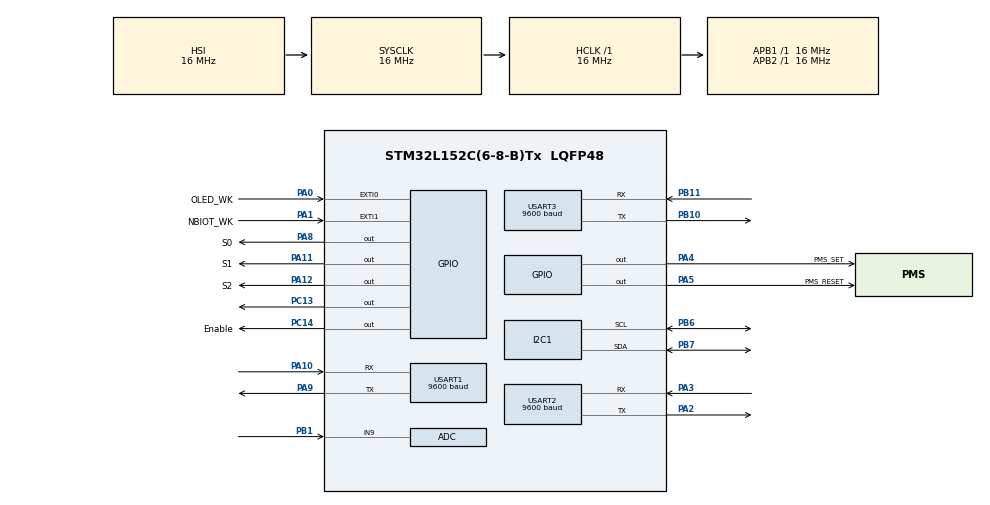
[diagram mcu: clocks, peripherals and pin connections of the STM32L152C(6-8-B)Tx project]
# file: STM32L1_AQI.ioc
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Mcu.Family=STM32L1
PA11.GPIO_Speed=GPIO_SPEED_FREQ_VERY_HIGH
PH0-OSC_IN.Signal=RCC_OSC_IN
PB10.Mode=Asynchronous
ADC.Rank-0\#ChannelRegularConversion=1
USART1.BaudRate=9600
PB11.Signal=USART3_RX
PA5.PinState=GPIO_PIN_SET
RCC.SYSCLKSource=RCC_SYSCLKSOURCE_HSI
ProjectManager.StackSize=0x400
PC13-WKUP2.GPIO_PuPd=GPIO_PULLUP
PA12.Signal=GPIO_Output
USART3.BaudRate=9600
RCC.HCLKFreq_Value=16000000
RCC.APB2TimFreq_Value=16000000
PB6.Signal=I2C1_SCL
PB6.Mode=I2C
PA1.GPIO_PuPd=GPIO_PULLUP
RCC.AHBFreq_Value=16000000
PH0-OSC_IN.Mode=HSE-External-Oscillator
RCC.HSE_VALUE=8000000
PC13-WKUP2.Signal=GPIO_Output
PA4.GPIO_PuPd=GPIO_PULLUP
PA4.GPIO_Speed=GPIO_SPEED_FREQ_HIGH
PA14.Mode=Serial_Wire
PA5.GPIO_PuPd=GPIO_PULLUP
PB7.Signal=I2C1_SDA
PA8.Signal=GPIO_Output
TIM6.Period=3999
PC14-OSC32_IN.GPIO_Speed=GPIO_SPEED_FREQ_VERY_HIGH
PH1-OSC_OUT.Mode=HSE-External-Oscillator
Mcu.Package=LQFP48
PB1.Signal=ADC_IN9
PC14-OSC32_IN.PinState=GPIO_PIN_SET
USART2.VirtualMode=VM_ASYNC
PA10.Signal=USART1_RX
ADC.Channel-0\#ChannelRegularConversion=ADC_CHANNEL_9
RCC.APB1TimFreq_Value=16000000
PC14-OSC32_IN.GPIO_Label=Enable
PA4.GPIO_Label=PMS_SET
PA8.GPIO_Speed=GPIO_SPEED_FREQ_VERY_HIGH
PA12.GPIO_Speed=GPIO_SPEED_FREQ_VERY_HIGH
RCC.MSIClockRange=RCC_MSIRANGE_6
PA3.Signal=USART2_RX
RCC.MSI_VALUE=4194000
RCC.PLLSourceVirtual=RCC_PLLSOURCE_HSE
PA10.Mode=Asynchronous
TIM6.Prescaler=3
VP_TIM6_VS_ClockSourceINT.Mode=Enable_Timer
PA11.GPIO_Label=S1
PC14-OSC32_IN.Signal=GPIO_Output
USART2.BaudRate=9600
PA12.GPIO_Label=S2
NVIC.TIM6_IRQn=true\:0\:0\:false\:false\:true\:true\:true
PA13.Signal=SYS_JTMS-SWDIO
PA3.Mode=Asynchronous
PA9.Mode=Asynchronous
PA8.GPIO_Label=S0
PA4.PinState=GPIO_PIN_SET
PB11.Mode=Asynchronous
ProjectManager.TargetToolchain=MDK-ARM V5
PA9.Signal=USART1_TX
PA0-WKUP1.Signal=GPXTI0
ADC.NbrOfConversionFlag=1
RCC.LSE_VALUE=32768
PA1.Signal=GPXTI1
PB10.Signal=USART3_TX
PA5.Signal=GPIO_Output
board=custom
RCC.VCOOutputFreq_Value=24000000
RCC.APB2Freq_Value=16000000
PA1.GPIO_Label=NBIOT_WK
PH1-OSC_OUT.Signal=RCC_OSC_OUT
PA13.Mode=Serial_Wire
Mcu.Name=STM32L152C(6-8-B)Tx
PA2.Signal=USART2_TX
RCC.48MHZClocksFreq_Value=12000000
NVIC.EXTI0_IRQn=true\:0\:0\:false\:false\:true\:true\:true
PA4.Signal=GPIO_Output
RCC.SYSCLKFreq_VALUE=16000000
PA5.GPIO_Label=PMS_RESET
USART3.VirtualMode=VM_ASYNC
USART1.VirtualMode=VM_ASYNC
PB7.Mode=I2C
PA11.Signal=GPIO_Output
PA14.Signal=SYS_JTCK-SWCLK
PA0-WKUP1.GPIO_Label=OLED_WK
ProjectManager.HeapSize=0x200
PA0-WKUP1.GPIO_PuPd=GPIO_PULLDOWN
PB1.Mode=IN9
RCC.HSI_VALUE=16000000
PA5.GPIO_Speed=GPIO_SPEED_FREQ_HIGH
NVIC.PriorityGroup=NVIC_PRIORITYGROUP_4
PA2.Mode=Asynchronous
ADC.SamplingTime-0\#ChannelRegularConversion=ADC_SAMPLETIME_4CYCLES
RCC.APB1Freq_Value=16000000

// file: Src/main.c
/* USER CODE BEGIN Header */
/**
  ******************************************************************************
  * @file           : main.c
  * @brief          : Main program body
  ******************************************************************************
  ** This notice applies to any and all portions of this file
  * that are not between comment pairs USER CODE BEGIN and
  * USER CODE END. Other portions of this file, whether
  * inserted by the user or by software development tools
  * are owned by their respective copyright owners.
  *
  * COPYRIGHT(c) 2020 STMicroelectronics
  *
  * Redistribution and use in source and binary forms, with or without modification,
  * are permitted provided that the following conditions are met:
  *   1. Redistributions of source code must retain the above copyright notice,
  *      this list of conditions and the following disclaimer.
  *   2. Redistributions in binary form must reproduce the above copyright notice,
  *      this list of conditions and the following disclaimer in the documentation
  *      and/or other materials provided with the distribution.
  *   3. Neither the name of STMicroelectronics nor the names of its contributors
  *      may be used to endorse or promote products derived from this software
  *      without specific prior written permission.
  *
  * THIS SOFTWARE IS PROVIDED BY THE COPYRIGHT HOLDERS AND CONTRIBUTORS "AS IS"
  * AND ANY EXPRESS OR IMPLIED WARRANTIES, INCLUDING, BUT NOT LIMITED TO, THE
  * IMPLIED WARRANTIES OF MERCHANTABILITY AND FITNESS FOR A PARTICULAR PURPOSE ARE
  * DISCLAIMED. IN NO EVENT SHALL THE COPYRIGHT HOLDER OR CONTRIBUTORS BE LIABLE
  * FOR ANY DIRECT, INDIRECT, INCIDENTAL, SPECIAL, EXEMPLARY, OR CONSEQUENTIAL
  * DAMAGES (INCLUDING, BUT NOT LIMITED TO, PROCUREMENT OF SUBSTITUTE GOODS OR
  * SERVICES; LOSS OF USE, DATA, OR PROFITS; OR BUSINESS INTERRUPTION) HOWEVER
  * CAUSED AND ON ANY THEORY OF LIABILITY, WHETHER IN CONTRACT, STRICT LIABILITY,
  * OR TORT (INCLUDING NEGLIGENCE OR OTHERWISE) ARISING IN ANY WAY OUT OF THE USE
  * OF THIS SOFTWARE, EVEN IF ADVISED OF THE POSSIBILITY OF SUCH DAMAGE.
  *
  ******************************************************************************
  */
/* USER CODE END Header */

#include "main.h"

/* USER CODE BEGIN Includes */
#include <stdlib.h>
#include <stdio.h>
#include <string.h>
#include "cmsis_os.h"
#include "ssd1306.h"
#include "ssd1306_tests.h"
#include "bmp280.h"
#include "GPS.h"
#include "AQI_thread.h"

#define NODE 11;

/* USER CODE END Includes */

/* USER CODE BEGIN PTD */

osPoolDef(message, 1, data);							//define memory pool
osPoolId  message_id;
data *message_pointer;

osThreadId GPS_id,PMS_id,BME_id,OLED_id,ESP_id,NBIOT_id;			//Define the task ID variables
osSemaphoreId Turnstile;
osSemaphoreDef(Turnstile);
osSemaphoreId Turnstile2;
osSemaphoreDef(Turnstile2);
osSemaphoreId Mutex;
osSemaphoreDef(Mutex);
unsigned int count=0;
int test =0;

osSemaphoreId Mutex_read;
osSemaphoreDef(Mutex_read);

osSemaphoreId Mutex_send;
osSemaphoreDef(Mutex_send);

void GPS_read_task(void const *argument)
{
	while(1)
	{
		osSemaphoreWait(Mutex_read, osWaitForever);
		mux_enable();
		mux_sel(1);
		GPS_Process();
		mux_enable();
		osSemaphoreRelease(Mutex_read);
//-----------------------------------Entry Turnstile-------------------------------

		osSemaphoreWait(Mutex,0xffff);			 				//Allow one task at a time to access the first turnstile
		count = count+1;					 									// Increment count
		if( count == 5) 					 									//When last section of code reaches this point run his code
		{
			osSemaphoreWait (Turnstile2,0xffff);	 		//Lock the second turnstile
			osSemaphoreRelease(Turnstile);				 		//Unlock the first turnstile
		}
		osSemaphoreRelease(Mutex);									//Allow other tasks to access the turnstile
		osSemaphoreWait(Turnstile,0xFFFF);					//Turnstile Gate
		osSemaphoreRelease(Turnstile);

//-----------------------------------Entry Turnstile-----------------------------------

		  // write to message
//----------------------------------Exit Turnstile------------------------------------

		osSemaphoreWait(Mutex,0xffff);			 				//Allow one task at a time to access the turnstile
		count = count - 1;
		if(count ==0)						 										//When last section of code reaches this point run his code
		{
			osSemaphoreWait(Turnstile,0xffff);		 		//Lock the second turnstile
			osSemaphoreRelease(Turnstile2);			 			//Unlock the first turnstile
		}
		osSemaphoreRelease(Mutex);					 				//Allow other tasks to access the turnstile
		osSemaphoreWait(Turnstile2,0xffff);		 			//Turnstile Gate
		osSemaphoreRelease(Turnstile2);

//---------------------------------Exit Turnstile-------------------------------------

	}
}	;

void PMS7003_read_task(void const *argument)
{
	while(1)
	{
		osSemaphoreWait(Mutex_read, osWaitForever);
		PMS_Init();
		if(readPMS()){
		message_pointer->pm01= ((uint16_t)pms_rx_data[4] << 8) | (uint16_t)pms_rx_data[5];
		message_pointer->pm25= ((uint16_t)pms_rx_data[6] << 8) | (uint16_t)pms_rx_data[7];
		message_pointer->pm10= ((uint16_t)pms_rx_data[8] << 8) | (uint16_t)pms_rx_data[9];
		}
		else{
		message_pointer->pm01= 99999;
		message_pointer->pm25= 99999;
		message_pointer->pm10= 99999;
		}
		osSemaphoreRelease(Mutex_read);

//-----------------------------------Entry Turnstile-------------------------------

		osSemaphoreWait(Mutex,0xffff);			 				//Allow one task at a time to access the first turnstile
		count = count+1;					 									// Increment count
		if( count == 5) 					 									//When last section of code reaches this point run his code
		{
			osSemaphoreWait (Turnstile2,0xffff);	 		//Lock the second turnstile
			osSemaphoreRelease(Turnstile);				 		//Unlock the first turnstile
		}
		osSemaphoreRelease(Mutex);									//Allow other tasks to access the turnstile
		osSemaphoreWait(Turnstile,0xFFFF);					//Turnstile Gate
		osSemaphoreRelease(Turnstile);

//-----------------------------------Entry Turnstile-----------------------------------

		// write to message
//----------------------------------Exit Turnstile------------------------------------

		osSemaphoreWait(Mutex,0xffff);			 				//Allow one task at a time to access the turnstile
		count = count - 1;
		if(count ==0)						 										//When last section of code reaches this point run his code
		{
			osSemaphoreWait(Turnstile,0xffff);		 		//Lock the second turnstile
			osSemaphoreRelease(Turnstile2);			 			//Unlock the first turnstile
		}
		osSemaphoreRelease(Mutex);					 				//Allow other tasks to access the turnstile
		osSemaphoreWait(Turnstile2,0xffff);		 			//Turnstile Gate
		osSemaphoreRelease(Turnstile2);

//---------------------------------Exit Turnstile-------------------------------------

	}
}	;

void BME_read_task(void const *argument)
{
	while(1)
	{
		osSemaphoreWait(Mutex_read, osWaitForever);
	  if(BME280_Init()){

	  	if(!readBME280()){
	    message_pointer->humid = 99999.0;
	  	message_pointer->temp = 99999.0;
	  	message_pointer->pressure = 99999.0;
	  	HAL_I2C_DeInit(&hi2c1);
	  	HAL_I2C_Init(&hi2c1);
	  	}
	  }
	  else{
	  	message_pointer->humid = 99999.0;
	  	message_pointer->temp = 99999.0;
	  	message_pointer->pressure = 99999.0;
	  	HAL_I2C_DeInit(&hi2c1);
	  	HAL_I2C_Init(&hi2c1);
	  	BME280_Init();
	  }
		osSemaphoreRelease(Mutex_read);

//-----------------------------------Entry Turnstile-------------------------------

		osSemaphoreWait(Mutex,0xffff);			 				//Allow one task at a time to access the first turnstile
		count = count+1;					 									// Increment count
		if( count == 5) 					 									//When last section of code reaches this point run his code
		{
			osSemaphoreWait (Turnstile2,0xffff);	 		//Lock the second turnstile
			osSemaphoreRelease(Turnstile);				 		//Unlock the first turnstile
		}
		osSemaphoreRelease(Mutex);									//Allow other tasks to access the turnstile
		osSemaphoreWait(Turnstile,0xFFFF);					//Turnstile Gate
		osSemaphoreRelease(Turnstile);

//-----------------------------------Entry Turnstile-----------------------------------

		// write to message
//----------------------------------Exit Turnstile------------------------------------

		osSemaphoreWait(Mutex,0xffff);			 				//Allow one task at a time to access the turnstile
		count = count - 1;
		if(count ==0)						 										//When last section of code reaches this point run his code
		{
			osSemaphoreWait(Turnstile,0xffff);		 		//Lock the second turnstile
			osSemaphoreRelease(Turnstile2);			 			//Unlock the first turnstile
		}
		osSemaphoreRelease(Mutex);					 				//Allow other tasks to access the turnstile
		osSemaphoreWait(Turnstile2,0xffff);		 			//Turnstile Gate
		osSemaphoreRelease(Turnstile2);

//---------------------------------Exit Turnstile-------------------------------------

	}
}	;
void OLED_disp_task(void const *argument)
{
	while(1)
	{

//-----------------------------------Entry Turnstile-------------------------------

		osSemaphoreWait(Mutex,0xffff);			 				//Allow one task at a time to access the first turnstile
		count = count+1;					 									// Increment count
		if( count == 5) 					 									//When last section of code reaches this point run his code
		{
			osSemaphoreWait (Turnstile2,0xffff);	 		//Lock the second turnstile
			osSemaphoreRelease(Turnstile);				 		//Unlock the first turnstile
		}
		osSemaphoreRelease(Mutex);									//Allow other tasks to access the turnstile
		osSemaphoreWait(Turnstile,0xFFFF);					//Turnstile Gate
		osSemaphoreRelease(Turnstile);

//-----------------------------------Entry Turnstile-----------------------------------

		  osSemaphoreWait(Mutex_send, osWaitForever);
		  ssd1306_Init();
 		  oled_disp();
			osSemaphoreRelease(Mutex_send);

//----------------------------------Exit Turnstile------------------------------------

		osSemaphoreWait(Mutex,0xffff);			 				//Allow one task at a time to access the turnstile
		count = count - 1;
		if(count ==0)						 										//When last section of code reaches this point run his code
		{
			osSemaphoreWait(Turnstile,0xffff);		 		//Lock the second turnstile
			osSemaphoreRelease(Turnstile2);			 			//Unlock the first turnstile
		}
		osSemaphoreRelease(Mutex);					 				//Allow other tasks to access the turnstile
		osSemaphoreWait(Turnstile2,0xffff);		 			//Turnstile Gate
		osSemaphoreRelease(Turnstile2);

//---------------------------------Exit Turnstile-------------------------------------

	}
}	;

void NBIOT_send_task(void const *argument)
{
	while(1)
	{
//-----------------------------------Entry Turnstile-------------------------------

		osSemaphoreWait(Mutex,0xffff);			 				//Allow one task at a time to access the first turnstile
		count = count+1;					 									// Increment count
		if( count == 5) 					 									//When last section of code reaches this point run his code
		{
			osSemaphoreWait (Turnstile2,0xffff);	 		//Lock the second turnstile
			osSemaphoreRelease(Turnstile);				 		//Unlock the first turnstile
		}
		osSemaphoreRelease(Mutex);									//Allow other tasks to access the turnstile
		osSemaphoreWait(Turnstile,0xFFFF);					//Turnstile Gate
		osSemaphoreRelease(Turnstile);

//-----------------------------------Entry Turnstile-----------------------------------

		osSemaphoreWait(Mutex_send, osWaitForever);
		sendData_NBIOT();
		osSemaphoreRelease(Mutex_send);

//----------------------------------Exit Turnstile------------------------------------

		osSemaphoreWait(Mutex,0xffff);			 				//Allow one task at a time to access the turnstile
		count = count - 1;
		if(count ==0)						 										//When last section of code reaches this point run his code
		{
			osSemaphoreWait(Turnstile,0xffff);		 		//Lock the second turnstile
			osSemaphoreRelease(Turnstile2);			 			//Unlock the first turnstile
		}
		osSemaphoreRelease(Mutex);					 				//Allow other tasks to access the turnstile
		osSemaphoreWait(Turnstile2,0xffff);		 			//Turnstile Gate
		osSemaphoreRelease(Turnstile2);

//---------------------------------Exit Turnstile-------------------------------------

	}
}	;

osThreadDef(BME_read_task, osPriorityNormal, 1, 0);
osThreadDef(GPS_read_task, osPriorityNormal, 1, 0);
osThreadDef(PMS7003_read_task, osPriorityNormal, 1, 0);
osThreadDef(NBIOT_send_task, osPriorityNormal, 1, 0);
osThreadDef(OLED_disp_task, osPriorityNormal, 1, 0);
/* USER CODE END PTD */

ADC_HandleTypeDef hadc;

void SystemClock_Config(void);
static void MX_GPIO_Init(void);
static void MX_I2C1_Init(void);
static void MX_USART1_UART_Init(void);
static void MX_USART2_UART_Init(void);
static void MX_TIM6_Init(void);
static void MX_USART3_UART_Init(void);
static void MX_ADC_Init(void);
/* USER CODE BEGIN PFP */

//TIM:tick=1ms
void HAL_TIM_PeriodElapsedCallback(TIM_HandleTypeDef *htim);

//OLED
void HAL_GPIO_EXTI_Callback(uint16_t GPIO_Pin);

/* USER CODE END PFP */

int main(void)
{

  /* MCU Configuration--------------------------------------------------------*/

  /* Reset of all peripherals, Initializes the Flash interface and the Systick. */
  HAL_Init();

  /* Configure the system clock */
  SystemClock_Config();

  /* Initialize all configured peripherals */
  MX_GPIO_Init();
  MX_I2C1_Init();
  MX_USART1_UART_Init();
  MX_USART2_UART_Init();
  MX_TIM6_Init();
  MX_USART3_UART_Init();
  MX_ADC_Init();
  /* USER CODE BEGIN 2 */
	osKernelInitialize ();
	Turnstile =	osSemaphoreCreate(osSemaphore(Turnstile), 0);
	Turnstile2 = osSemaphoreCreate(osSemaphore(Turnstile2), 1);
	Mutex =	osSemaphoreCreate(osSemaphore(Mutex), 1);
	Mutex_read =	osSemaphoreCreate(osSemaphore(Mutex_read), 1);
	Mutex_send =	osSemaphoreCreate(osSemaphore(Mutex_send), 1);
	PMS_id = osThreadCreate(osThread(PMS7003_read_task),(void *) 1U);  //Create the tasks
	BME_id = osThreadCreate(osThread(BME_read_task),(void *) 2U);
	GPS_id = osThreadCreate(osThread(GPS_read_task),(void *) 3U);
	OLED_id = osThreadCreate(osThread(OLED_disp_task),(void *) 4U);
	NBIOT_id = osThreadCreate(osThread(NBIOT_send_task),(void *) 5U);
	HAL_TIM_Base_Start_IT(&htim6);
	HAL_GPIO_WritePin(GPIOC, GPIO_PIN_13, 1);
	osKernelStart ();
	message_id= osPoolCreate(osPool(message));
	message_pointer= (data *)osPoolAlloc(message_id);

  /* USER CODE END 2 */

  /* Infinite loop */

}

void SystemClock_Config(void)
{
  RCC_OscInitTypeDef RCC_OscInitStruct = {0};
  RCC_ClkInitTypeDef RCC_ClkInitStruct = {0};

  /** Configure the main internal regulator output voltage
  */
  __HAL_PWR_VOLTAGESCALING_CONFIG(PWR_REGULATOR_VOLTAGE_SCALE1);
  /** Initializes the CPU, AHB and APB busses clocks
  */
  RCC_OscInitStruct.OscillatorType = RCC_OSCILLATORTYPE_HSI;
  RCC_OscInitStruct.HSIState = RCC_HSI_ON;
  RCC_OscInitStruct.HSICalibrationValue = RCC_HSICALIBRATION_DEFAULT;
  RCC_OscInitStruct.PLL.PLLState = RCC_PLL_NONE;
  if (HAL_RCC_OscConfig(&RCC_OscInitStruct) != HAL_OK)
  {
    Error_Handler();
  }
  /** Initializes the CPU, AHB and APB busses clocks
  */
  RCC_ClkInitStruct.ClockType = RCC_CLOCKTYPE_HCLK|RCC_CLOCKTYPE_SYSCLK
                              |RCC_CLOCKTYPE_PCLK1|RCC_CLOCKTYPE_PCLK2;
  RCC_ClkInitStruct.SYSCLKSource = RCC_SYSCLKSOURCE_HSI;
  RCC_ClkInitStruct.AHBCLKDivider = RCC_SYSCLK_DIV1;
  RCC_ClkInitStruct.APB1CLKDivider = RCC_HCLK_DIV1;
  RCC_ClkInitStruct.APB2CLKDivider = RCC_HCLK_DIV1;

  if (HAL_RCC_ClockConfig(&RCC_ClkInitStruct, FLASH_LATENCY_0) != HAL_OK)
  {
    Error_Handler();
  }
}

static void MX_ADC_Init(void)
{

  ADC_ChannelConfTypeDef sConfig = {0};

  /** Configure the global features of the ADC (Clock, Resolution, Data Alignment and number of conversion)
  */
  hadc.Instance = ADC1;
  hadc.Init.ClockPrescaler = ADC_CLOCK_ASYNC_DIV1;
  hadc.Init.Resolution = ADC_RESOLUTION_12B;
  hadc.Init.DataAlign = ADC_DATAALIGN_RIGHT;
  hadc.Init.ScanConvMode = ADC_SCAN_DISABLE;
  hadc.Init.EOCSelection = ADC_EOC_SEQ_CONV;
  hadc.Init.LowPowerAutoWait = ADC_AUTOWAIT_DISABLE;
  hadc.Init.LowPowerAutoPowerOff = ADC_AUTOPOWEROFF_DISABLE;
  hadc.Init.ChannelsBank = ADC_CHANNELS_BANK_A;
  hadc.Init.ContinuousConvMode = DISABLE;
  hadc.Init.NbrOfConversion = 1;
  hadc.Init.DiscontinuousConvMode = DISABLE;
  hadc.Init.ExternalTrigConv = ADC_SOFTWARE_START;
  hadc.Init.ExternalTrigConvEdge = ADC_EXTERNALTRIGCONVEDGE_NONE;
  hadc.Init.DMAContinuousRequests = DISABLE;
  if (HAL_ADC_Init(&hadc) != HAL_OK)
  {
    Error_Handler();
  }
  /** Configure for the selected ADC regular channel its corresponding rank in the sequencer and its sample time.
  */
  sConfig.Channel = ADC_CHANNEL_9;
  sConfig.Rank = ADC_REGULAR_RANK_1;
  sConfig.SamplingTime = ADC_SAMPLETIME_4CYCLES;
  if (HAL_ADC_ConfigChannel(&hadc, &sConfig) != HAL_OK)
  {
    Error_Handler();
  }

}

static void MX_I2C1_Init(void)
{

  hi2c1.Instance = I2C1;
  hi2c1.Init.ClockSpeed = 100000;
  hi2c1.Init.DutyCycle = I2C_DUTYCYCLE_2;
  hi2c1.Init.OwnAddress1 = 0;
  hi2c1.Init.AddressingMode = I2C_ADDRESSINGMODE_7BIT;
  hi2c1.Init.DualAddressMode = I2C_DUALADDRESS_DISABLE;
  hi2c1.Init.OwnAddress2 = 0;
  hi2c1.Init.GeneralCallMode = I2C_GENERALCALL_DISABLE;
  hi2c1.Init.NoStretchMode = I2C_NOSTRETCH_DISABLE;
  if (HAL_I2C_Init(&hi2c1) != HAL_OK)
  {
    Error_Handler();
  }

}

static void MX_TIM6_Init(void)
{

  TIM_MasterConfigTypeDef sMasterConfig = {0};

  htim6.Instance = TIM6;
  htim6.Init.Prescaler = 3;
  htim6.Init.CounterMode = TIM_COUNTERMODE_UP;
  htim6.Init.Period = 3999;
  htim6.Init.AutoReloadPreload = TIM_AUTORELOAD_PRELOAD_DISABLE;
  if (HAL_TIM_Base_Init(&htim6) != HAL_OK)
  {
    Error_Handler();
  }
  sMasterConfig.MasterOutputTrigger = TIM_TRGO_RESET;
  sMasterConfig.MasterSlaveMode = TIM_MASTERSLAVEMODE_DISABLE;
  if (HAL_TIMEx_MasterConfigSynchronization(&htim6, &sMasterConfig) != HAL_OK)
  {
    Error_Handler();
  }

}

static void MX_USART1_UART_Init(void)
{

  huart1.Instance = USART1;
  huart1.Init.BaudRate = 9600;
  huart1.Init.WordLength = UART_WORDLENGTH_8B;
  huart1.Init.StopBits = UART_STOPBITS_1;
  huart1.Init.Parity = UART_PARITY_NONE;
  huart1.Init.Mode = UART_MODE_TX_RX;
  huart1.Init.HwFlowCtl = UART_HWCONTROL_NONE;
  huart1.Init.OverSampling = UART_OVERSAMPLING_16;
  if (HAL_UART_Init(&huart1) != HAL_OK)
  {
    Error_Handler();
  }

}

static void MX_USART2_UART_Init(void)
{

  huart2.Instance = USART2;
  huart2.Init.BaudRate = 9600;
  huart2.Init.WordLength = UART_WORDLENGTH_8B;
  huart2.Init.StopBits = UART_STOPBITS_1;
  huart2.Init.Parity = UART_PARITY_NONE;
  huart2.Init.Mode = UART_MODE_TX_RX;
  huart2.Init.HwFlowCtl = UART_HWCONTROL_NONE;
  huart2.Init.OverSampling = UART_OVERSAMPLING_16;
  if (HAL_UART_Init(&huart2) != HAL_OK)
  {
    Error_Handler();
  }

}

static void MX_USART3_UART_Init(void)
{

  huart3.Instance = USART3;
  huart3.Init.BaudRate = 9600;
  huart3.Init.WordLength = UART_WORDLENGTH_8B;
  huart3.Init.StopBits = UART_STOPBITS_1;
  huart3.Init.Parity = UART_PARITY_NONE;
  huart3.Init.Mode = UART_MODE_TX_RX;
  huart3.Init.HwFlowCtl = UART_HWCONTROL_NONE;
  huart3.Init.OverSampling = UART_OVERSAMPLING_16;
  if (HAL_UART_Init(&huart3) != HAL_OK)
  {
    Error_Handler();
  }

}

static void MX_GPIO_Init(void)
{
  GPIO_InitTypeDef GPIO_InitStruct = {0};

  /* GPIO Ports Clock Enable */
  __HAL_RCC_GPIOC_CLK_ENABLE();
  __HAL_RCC_GPIOH_CLK_ENABLE();
  __HAL_RCC_GPIOA_CLK_ENABLE();
  __HAL_RCC_GPIOB_CLK_ENABLE();

  /*Configure GPIO pin Output Level */
  HAL_GPIO_WritePin(GPIOC, GPIO_PIN_13, GPIO_PIN_RESET);

  /*Configure GPIO pin Output Level */
  HAL_GPIO_WritePin(Enable_GPIO_Port, Enable_Pin, GPIO_PIN_SET);

  /*Configure GPIO pin Output Level */
  HAL_GPIO_WritePin(GPIOA, PMS_SET_Pin|PMS_RESET_Pin, GPIO_PIN_SET);

  /*Configure GPIO pin Output Level */
  HAL_GPIO_WritePin(GPIOA, S0_Pin|S1_Pin|S2_Pin, GPIO_PIN_RESET);

  /*Configure GPIO pin : PC13 */
  GPIO_InitStruct.Pin = GPIO_PIN_13;
  GPIO_InitStruct.Mode = GPIO_MODE_OUTPUT_PP;
  GPIO_InitStruct.Pull = GPIO_PULLUP;
  GPIO_InitStruct.Speed = GPIO_SPEED_FREQ_LOW;
  HAL_GPIO_Init(GPIOC, &GPIO_InitStruct);

  /*Configure GPIO pin : Enable_Pin */
  GPIO_InitStruct.Pin = Enable_Pin;
  GPIO_InitStruct.Mode = GPIO_MODE_OUTPUT_PP;
  GPIO_InitStruct.Pull = GPIO_NOPULL;
  GPIO_InitStruct.Speed = GPIO_SPEED_FREQ_VERY_HIGH;
  HAL_GPIO_Init(Enable_GPIO_Port, &GPIO_InitStruct);

  /*Configure GPIO pin : OLED_WK_Pin */
  GPIO_InitStruct.Pin = OLED_WK_Pin;
  GPIO_InitStruct.Mode = GPIO_MODE_IT_RISING;
  GPIO_InitStruct.Pull = GPIO_PULLDOWN;
  HAL_GPIO_Init(OLED_WK_GPIO_Port, &GPIO_InitStruct);

  /*Configure GPIO pin : NBIOT_WK_Pin */
  GPIO_InitStruct.Pin = NBIOT_WK_Pin;
  GPIO_InitStruct.Mode = GPIO_MODE_IT_RISING;
  GPIO_InitStruct.Pull = GPIO_PULLUP;
  HAL_GPIO_Init(NBIOT_WK_GPIO_Port, &GPIO_InitStruct);

  /*Configure GPIO pins : PMS_SET_Pin PMS_RESET_Pin */
  GPIO_InitStruct.Pin = PMS_SET_Pin|PMS_RESET_Pin;
  GPIO_InitStruct.Mode = GPIO_MODE_OUTPUT_PP;
  GPIO_InitStruct.Pull = GPIO_PULLUP;
  GPIO_InitStruct.Speed = GPIO_SPEED_FREQ_HIGH;
  HAL_GPIO_Init(GPIOA, &GPIO_InitStruct);

  /*Configure GPIO pins : S0_Pin S1_Pin S2_Pin */
  GPIO_InitStruct.Pin = S0_Pin|S1_Pin|S2_Pin;
  GPIO_InitStruct.Mode = GPIO_MODE_OUTPUT_PP;
  GPIO_InitStruct.Pull = GPIO_NOPULL;
  GPIO_InitStruct.Speed = GPIO_SPEED_FREQ_VERY_HIGH;
  HAL_GPIO_Init(GPIOA, &GPIO_InitStruct);

  /* EXTI interrupt init*/
  HAL_NVIC_SetPriority(EXTI0_IRQn, 0, 0);
  HAL_NVIC_EnableIRQ(EXTI0_IRQn);

}

/* USER CODE BEGIN 4 */

// TIM 6: tick=1ms
void HAL_TIM_PeriodElapsedCallback(TIM_HandleTypeDef *htim)
{
	if(htim->Instance == htim6.Instance) {
		if(sys_cnt==SYS_CNT_MAX) {
		  sys_cnt=0;
		} else {
			sys_cnt++;
		}
		HAL_IncTick();
	}
}

void HAL_GPIO_EXTI_Callback(uint16_t GPIO_Pin)
{
	 if(GPIO_Pin == GPIO_PIN_0) {
		 oled_cnt_test++;
		 led_on=1;
     led_off=0;
	 }
}

/* USER CODE END 4 */

void Error_Handler(void)
{
}

/************************ (C) COPYRIGHT STMicroelectronics *****END OF FILE****/
